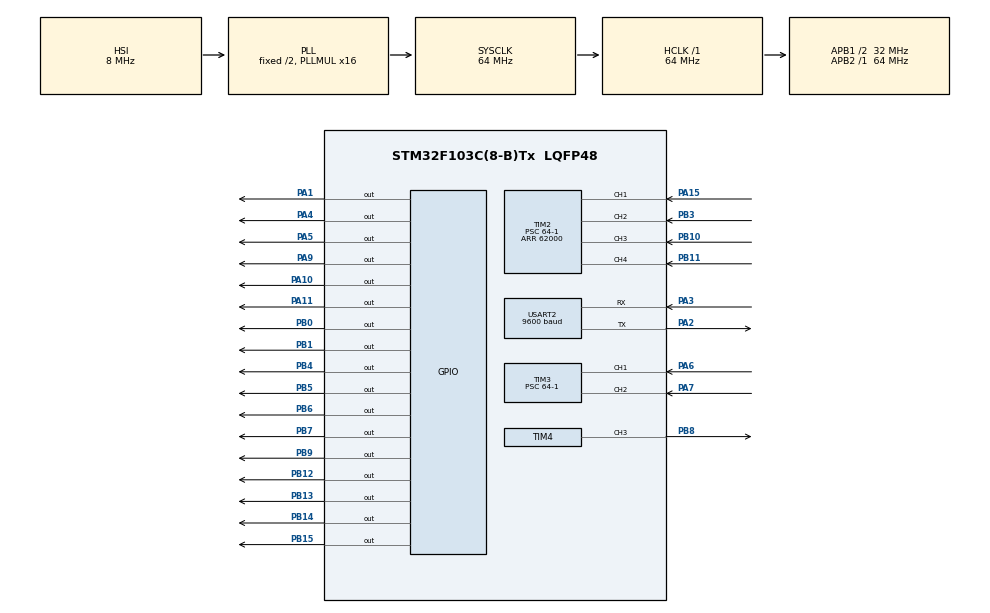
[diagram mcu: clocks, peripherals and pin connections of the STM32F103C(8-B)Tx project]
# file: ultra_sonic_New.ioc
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FREERTOS.Tasks01=Driving_Task,25,600,Start_Driving_Task_Int,Default,NULL,Dynamic,NULL,NULL;Searching_Task,25,600,Start_Searching_Task_Int,Default,NULL,Dynamic,NULL,NULL;Parking_Task,25,600,Start_Parking_Task_Int,Default,NULL,Dynamic,NULL,NULL
FREERTOS.configTOTAL_HEAP_SIZE=10000
FREERTOS.configUSE_NEWLIB_REENTRANT=1
Mcu.Family=STM32F1
Mcu.Name=STM32F103C(8-B)Tx
Mcu.Package=LQFP48
NVIC.PriorityGroup=NVIC_PRIORITYGROUP_4
NVIC.TIM1_UP_IRQn=true\:15\:0\:true\:false\:true\:true\:true\:true\:true
NVIC.TIM2_IRQn=true\:5\:0\:false\:false\:true\:true\:true\:true\:true
NVIC.TIM3_IRQn=true\:5\:0\:false\:false\:true\:true\:true\:true\:true
NVIC.USART2_IRQn=true\:5\:0\:false\:false\:true\:true\:true\:true\:true
PA1.Signal=GPIO_Output
PA10.Signal=GPIO_Output
PA11.Signal=GPIO_Output
PA13.Mode=Serial_Wire
PA13.Signal=SYS_JTMS-SWDIO
PA14.Mode=Serial_Wire
PA14.Signal=SYS_JTCK-SWCLK
PA15.Signal=S_TIM2_CH1_ETR
PA2.Mode=Asynchronous
PA2.Signal=USART2_TX
PA3.Mode=Asynchronous
PA3.Signal=USART2_RX
PA4.Signal=GPIO_Output
PA5.Signal=GPIO_Output
PA6.Signal=S_TIM3_CH1
PA7.Signal=S_TIM3_CH2
PA9.Signal=GPIO_Output
PB0.Signal=GPIO_Output
PB1.Signal=GPIO_Output
PB10.Signal=S_TIM2_CH3
PB11.Signal=S_TIM2_CH4
PB12.Signal=GPIO_Output
PB13.Signal=GPIO_Output
PB14.Signal=GPIO_Output
PB15.Signal=GPIO_Output
PB3.Signal=S_TIM2_CH2
PB4.Signal=GPIO_Output
PB5.Signal=GPIO_Output
PB6.Signal=GPIO_Output
PB7.Signal=GPIO_Output
PB8.Signal=S_TIM4_CH3
PB9.Signal=GPIO_Output
ProjectManager.HeapSize=0x200
ProjectManager.StackSize=0x400
ProjectManager.TargetToolchain=STM32CubeIDE
RCC.AHBFreq_Value=64000000
RCC.APB1CLKDivider=RCC_HCLK_DIV2
RCC.APB1Freq_Value=32000000
RCC.APB1TimFreq_Value=64000000
RCC.APB2Freq_Value=64000000
RCC.APB2TimFreq_Value=64000000
RCC.HCLKFreq_Value=64000000
RCC.PLLMUL=RCC_PLL_MUL16
RCC.SYSCLKFreq_VALUE=64000000
RCC.SYSCLKSource=RCC_SYSCLKSOURCE_PLLCLK
RCC.USBFreq_Value=64000000
SH.S_TIM2_CH1_ETR.0=TIM2_CH1,Input_Capture1_from_TI1
SH.S_TIM2_CH2.0=TIM2_CH2,Input_Capture2_from_TI2
SH.S_TIM2_CH3.0=TIM2_CH3,Input_Capture3_from_TI3
SH.S_TIM2_CH4.0=TIM2_CH4,Input_Capture4_from_TI4
SH.S_TIM3_CH1.0=TIM3_CH1,Input_Capture1_from_TI1
SH.S_TIM3_CH2.0=TIM3_CH2,Input_Capture2_from_TI2
SH.S_TIM4_CH3.0=TIM4_CH3,PWM Generation3 CH3
TIM1.Period=62000
TIM1.Prescaler=64-1
TIM2.Channel-Input_Capture1_from_TI1=TIM_CHANNEL_1
TIM2.Channel-Input_Capture2_from_TI2=TIM_CHANNEL_2
TIM2.Channel-Input_Capture3_from_TI3=TIM_CHANNEL_3
TIM2.Channel-Input_Capture4_from_TI4=TIM_CHANNEL_4
TIM2.Period=62000
TIM2.Prescaler=64-1
TIM3.Channel-Input_Capture1_from_TI1=TIM_CHANNEL_1
TIM3.Channel-Input_Capture2_from_TI2=TIM_CHANNEL_2
TIM3.Period=62000
TIM3.Prescaler=64-1
TIM4.Channel-PWM\ Generation3\ CH3=TIM_CHANNEL_3
TIM4.Period=20000-1
TIM4.Prescaler=64-1
USART2.BaudRate=9600
USART2.VirtualMode=VM_ASYNC
VP_FREERTOS_VS_CMSIS_V2.Mode=CMSIS_V2
VP_TIM1_VS_ClockSourceINT.Mode=Internal
VP_TIM2_VS_ClockSourceINT.Mode=Internal
VP_TIM3_VS_ClockSourceINT.Mode=Internal
VP_TIM4_VS_ClockSourceINT.Mode=Internal
board=custom

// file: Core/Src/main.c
/* USER CODE BEGIN Header */
/**
 ******************************************************************************
 * @file           : main.c
 * @brief          : Main program body
 ******************************************************************************
 * @attention
 *
 * Copyright (c) 2023 STMicroelectronics.
 * All rights reserved.
 *
 * This software is licensed under terms that can be found in the LICENSE file
 * in the root directory of this software component.
 * If no LICENSE file comes with this software, it is provided AS-IS.
 *
 ******************************************************************************
 */
/* USER CODE END Header */
#include "main.h"
#include "cmsis_os.h"

/* USER CODE BEGIN Includes */
#include "Ultra_Sonic.h"
#include "Uart.h"
#include "Motor.h"
#include "SharedVar.h"
#include "Driving.h"
#include "Search.h"
#include "Park.h"

/* USER CODE END Includes */

TIM_HandleTypeDef htim1;
TIM_HandleTypeDef htim2;
TIM_HandleTypeDef htim3;
TIM_HandleTypeDef htim4;

UART_HandleTypeDef huart2;

/* Definitions for Driving_Task */
osThreadId_t Driving_TaskHandle;
const osThreadAttr_t Driving_Task_attributes = {
		.name = "Driving_Task",
		.stack_size = 600 * 4,
		.priority = (osPriority_t) osPriorityNormal1,
};
/* Definitions for Searching_Task */
osThreadId_t Searching_TaskHandle;
const osThreadAttr_t Searching_Task_attributes = {
		.name = "Searching_Task",
		.stack_size = 600 * 4,
		.priority = (osPriority_t) osPriorityNormal1,
};
/* Definitions for Parking_Task */
osThreadId_t Parking_TaskHandle;
const osThreadAttr_t Parking_Task_attributes = {
		.name = "Parking_Task",
		.stack_size = 600 * 4,
		.priority = (osPriority_t) osPriorityNormal1,
};
/* USER CODE BEGIN PV */
u16 Ultra_reading[6][10];

/*****************************************************************************
 *****************************************************************************
 ** create event Group to handle and synchronize between the three tasks    **
 **task_1:Driving_Task                                                      **
 **task_2:Seaching_Task                                                     **
 **task_3:Parking_Task                                                      **
 *****************************************************************************                                                      *
 *****************************************************************************/
osEventFlagsId_t EventGroup_1;
/* USER CODE END PV */

void SystemClock_Config(void);
static void MX_GPIO_Init(void);
static void MX_TIM2_Init(void);
static void MX_TIM1_Init(void);
static void MX_TIM3_Init(void);
static void MX_TIM4_Init(void);
static void MX_USART2_UART_Init(void);
void Start_Driving_Task_Int(void *argument);
void Start_Searching_Task_Int(void *argument);
void Start_Parking_Task_Int(void *argument);

/* USER CODE BEGIN PFP */
void Bluetooth_test();
/* USER CODE END PFP */

/* USER CODE BEGIN 0 */
/* Declare a volatile variable to store a single byte of data (character)*/
volatile uint8_t ch;

/* Declare a volatile flag to indicate whether UART data has been received*/
volatile static uint8_t Uart_flag;

/* Declare a volatile variable to store received UART data*/
volatile static uint8_t rxData;

/* Declare a volatile variable to store the system mode (Assuming 'Mode_t' is a user-defined type)*/
volatile Mode_t mode;

/* USER CODE END 0 */

int main(void)
{

	/* MCU Configuration--------------------------------------------------------*/

	/* Reset of all peripherals, Initializes the Flash interface and the Systick. */
	HAL_Init();

	/* Configure the system clock */
	SystemClock_Config();

	/*******************************************************************
	 ************** Initialize all configured peripherals **************
	 *******************************************************************/
	MX_GPIO_Init();
	MX_TIM2_Init();
	MX_TIM1_Init();
	MX_TIM3_Init();
	MX_TIM4_Init();
	MX_USART2_UART_Init();
	Init_Uart((uint8_t*)&Uart_flag,(uint8_t*)&rxData);
	Driving_Init();
	SharedVar_Init();
	/* USER CODE BEGIN 2 */
	HAL_Delay(80);
	/* USER CODE END 2 */
	/* Init scheduler */
	osKernelInitialize();

	/* Create the thread(s) */
	/* creation of Driving_Task */
	Driving_TaskHandle = osThreadNew(Start_Driving_Task_Int, NULL, &Driving_Task_attributes);

	/* creation of Searching_Task */
	Searching_TaskHandle = osThreadNew(Start_Searching_Task_Int, NULL, &Searching_Task_attributes);

	/* creation of Parking_Task */
	Parking_TaskHandle = osThreadNew(Start_Parking_Task_Int, NULL, &Parking_Task_attributes);

	/* Start scheduler */
	osKernelStart();

	/* We should never get here as control is now taken by the scheduler */
	/* Infinite loop */
	while (1)
	{

	}
}

void SystemClock_Config(void)
{
	RCC_OscInitTypeDef RCC_OscInitStruct = {0};
	RCC_ClkInitTypeDef RCC_ClkInitStruct = {0};

	/** Initializes the RCC Oscillators according to the specified parameters
	 * in the RCC_OscInitTypeDef structure.
	 */
	RCC_OscInitStruct.OscillatorType = RCC_OSCILLATORTYPE_HSI;
	RCC_OscInitStruct.HSIState = RCC_HSI_ON;
	RCC_OscInitStruct.HSICalibrationValue = RCC_HSICALIBRATION_DEFAULT;
	RCC_OscInitStruct.PLL.PLLState = RCC_PLL_ON;
	RCC_OscInitStruct.PLL.PLLSource = RCC_PLLSOURCE_HSI_DIV2;
	RCC_OscInitStruct.PLL.PLLMUL = RCC_PLL_MUL16;
	if (HAL_RCC_OscConfig(&RCC_OscInitStruct) != HAL_OK)
	{
		Error_Handler();
	}

	/** Initializes the CPU, AHB and APB buses clocks
	 */
	RCC_ClkInitStruct.ClockType = RCC_CLOCKTYPE_HCLK|RCC_CLOCKTYPE_SYSCLK
			|RCC_CLOCKTYPE_PCLK1|RCC_CLOCKTYPE_PCLK2;
	RCC_ClkInitStruct.SYSCLKSource = RCC_SYSCLKSOURCE_PLLCLK;
	RCC_ClkInitStruct.AHBCLKDivider = RCC_SYSCLK_DIV1;
	RCC_ClkInitStruct.APB1CLKDivider = RCC_HCLK_DIV2;
	RCC_ClkInitStruct.APB2CLKDivider = RCC_HCLK_DIV1;

	if (HAL_RCC_ClockConfig(&RCC_ClkInitStruct, FLASH_LATENCY_2) != HAL_OK)
	{
		Error_Handler();
	}
}

static void MX_TIM1_Init(void)
{

	TIM_ClockConfigTypeDef sClockSourceConfig = {0};
	TIM_MasterConfigTypeDef sMasterConfig = {0};

	htim1.Instance = TIM1;
	htim1.Init.Prescaler = 64-1;
	htim1.Init.CounterMode = TIM_COUNTERMODE_UP;
	htim1.Init.Period = 62000;
	htim1.Init.ClockDivision = TIM_CLOCKDIVISION_DIV1;
	htim1.Init.RepetitionCounter = 0;
	htim1.Init.AutoReloadPreload = TIM_AUTORELOAD_PRELOAD_DISABLE;
	if (HAL_TIM_Base_Init(&htim1) != HAL_OK)
	{
		Error_Handler();
	}
	sClockSourceConfig.ClockSource = TIM_CLOCKSOURCE_INTERNAL;
	if (HAL_TIM_ConfigClockSource(&htim1, &sClockSourceConfig) != HAL_OK)
	{
		Error_Handler();
	}
	sMasterConfig.MasterOutputTrigger = TIM_TRGO_RESET;
	sMasterConfig.MasterSlaveMode = TIM_MASTERSLAVEMODE_DISABLE;
	if (HAL_TIMEx_MasterConfigSynchronization(&htim1, &sMasterConfig) != HAL_OK)
	{
		Error_Handler();
	}

}

static void MX_TIM2_Init(void)
{

	TIM_ClockConfigTypeDef sClockSourceConfig = {0};
	TIM_MasterConfigTypeDef sMasterConfig = {0};
	TIM_IC_InitTypeDef sConfigIC = {0};

	htim2.Instance = TIM2;
	htim2.Init.Prescaler = 64-1;
	htim2.Init.CounterMode = TIM_COUNTERMODE_UP;
	htim2.Init.Period = 62000;
	htim2.Init.ClockDivision = TIM_CLOCKDIVISION_DIV1;
	htim2.Init.AutoReloadPreload = TIM_AUTORELOAD_PRELOAD_DISABLE;
	if (HAL_TIM_Base_Init(&htim2) != HAL_OK)
	{
		Error_Handler();
	}
	sClockSourceConfig.ClockSource = TIM_CLOCKSOURCE_INTERNAL;
	if (HAL_TIM_ConfigClockSource(&htim2, &sClockSourceConfig) != HAL_OK)
	{
		Error_Handler();
	}
	if (HAL_TIM_IC_Init(&htim2) != HAL_OK)
	{
		Error_Handler();
	}
	sMasterConfig.MasterOutputTrigger = TIM_TRGO_RESET;
	sMasterConfig.MasterSlaveMode = TIM_MASTERSLAVEMODE_DISABLE;
	if (HAL_TIMEx_MasterConfigSynchronization(&htim2, &sMasterConfig) != HAL_OK)
	{
		Error_Handler();
	}
	sConfigIC.ICPolarity = TIM_INPUTCHANNELPOLARITY_RISING;
	sConfigIC.ICSelection = TIM_ICSELECTION_DIRECTTI;
	sConfigIC.ICPrescaler = TIM_ICPSC_DIV1;
	sConfigIC.ICFilter = 0;
	if (HAL_TIM_IC_ConfigChannel(&htim2, &sConfigIC, TIM_CHANNEL_1) != HAL_OK)
	{
		Error_Handler();
	}
	if (HAL_TIM_IC_ConfigChannel(&htim2, &sConfigIC, TIM_CHANNEL_2) != HAL_OK)
	{
		Error_Handler();
	}
	if (HAL_TIM_IC_ConfigChannel(&htim2, &sConfigIC, TIM_CHANNEL_3) != HAL_OK)
	{
		Error_Handler();
	}
	if (HAL_TIM_IC_ConfigChannel(&htim2, &sConfigIC, TIM_CHANNEL_4) != HAL_OK)
	{
		Error_Handler();
	}

}

static void MX_TIM3_Init(void)
{

	TIM_ClockConfigTypeDef sClockSourceConfig = {0};
	TIM_MasterConfigTypeDef sMasterConfig = {0};
	TIM_IC_InitTypeDef sConfigIC = {0};

	htim3.Instance = TIM3;
	htim3.Init.Prescaler = 64-1;
	htim3.Init.CounterMode = TIM_COUNTERMODE_UP;
	htim3.Init.Period = 62000;
	htim3.Init.ClockDivision = TIM_CLOCKDIVISION_DIV1;
	htim3.Init.AutoReloadPreload = TIM_AUTORELOAD_PRELOAD_DISABLE;
	if (HAL_TIM_Base_Init(&htim3) != HAL_OK)
	{
		Error_Handler();
	}
	sClockSourceConfig.ClockSource = TIM_CLOCKSOURCE_INTERNAL;
	if (HAL_TIM_ConfigClockSource(&htim3, &sClockSourceConfig) != HAL_OK)
	{
		Error_Handler();
	}
	if (HAL_TIM_IC_Init(&htim3) != HAL_OK)
	{
		Error_Handler();
	}
	sMasterConfig.MasterOutputTrigger = TIM_TRGO_RESET;
	sMasterConfig.MasterSlaveMode = TIM_MASTERSLAVEMODE_DISABLE;
	if (HAL_TIMEx_MasterConfigSynchronization(&htim3, &sMasterConfig) != HAL_OK)
	{
		Error_Handler();
	}
	sConfigIC.ICPolarity = TIM_INPUTCHANNELPOLARITY_RISING;
	sConfigIC.ICSelection = TIM_ICSELECTION_DIRECTTI;
	sConfigIC.ICPrescaler = TIM_ICPSC_DIV1;
	sConfigIC.ICFilter = 0;
	if (HAL_TIM_IC_ConfigChannel(&htim3, &sConfigIC, TIM_CHANNEL_1) != HAL_OK)
	{
		Error_Handler();
	}
	if (HAL_TIM_IC_ConfigChannel(&htim3, &sConfigIC, TIM_CHANNEL_2) != HAL_OK)
	{
		Error_Handler();
	}

}

static void MX_TIM4_Init(void)
{

	TIM_ClockConfigTypeDef sClockSourceConfig = {0};
	TIM_MasterConfigTypeDef sMasterConfig = {0};
	TIM_OC_InitTypeDef sConfigOC = {0};

	htim4.Instance = TIM4;
	htim4.Init.Prescaler = 64-1;
	htim4.Init.CounterMode = TIM_COUNTERMODE_UP;
	htim4.Init.Period = 20000-1;
	htim4.Init.ClockDivision = TIM_CLOCKDIVISION_DIV1;
	htim4.Init.AutoReloadPreload = TIM_AUTORELOAD_PRELOAD_DISABLE;
	if (HAL_TIM_Base_Init(&htim4) != HAL_OK)
	{
		Error_Handler();
	}
	sClockSourceConfig.ClockSource = TIM_CLOCKSOURCE_INTERNAL;
	if (HAL_TIM_ConfigClockSource(&htim4, &sClockSourceConfig) != HAL_OK)
	{
		Error_Handler();
	}
	if (HAL_TIM_PWM_Init(&htim4) != HAL_OK)
	{
		Error_Handler();
	}
	sMasterConfig.MasterOutputTrigger = TIM_TRGO_RESET;
	sMasterConfig.MasterSlaveMode = TIM_MASTERSLAVEMODE_DISABLE;
	if (HAL_TIMEx_MasterConfigSynchronization(&htim4, &sMasterConfig) != HAL_OK)
	{
		Error_Handler();
	}
	sConfigOC.OCMode = TIM_OCMODE_PWM1;
	sConfigOC.Pulse = 0;
	sConfigOC.OCPolarity = TIM_OCPOLARITY_HIGH;
	sConfigOC.OCFastMode = TIM_OCFAST_DISABLE;
	if (HAL_TIM_PWM_ConfigChannel(&htim4, &sConfigOC, TIM_CHANNEL_3) != HAL_OK)
	{
		Error_Handler();
	}
	HAL_TIM_MspPostInit(&htim4);

}

static void MX_USART2_UART_Init(void)
{

	huart2.Instance = USART2;
	huart2.Init.BaudRate = 9600;
	huart2.Init.WordLength = UART_WORDLENGTH_8B;
	huart2.Init.StopBits = UART_STOPBITS_1;
	huart2.Init.Parity = UART_PARITY_NONE;
	huart2.Init.Mode = UART_MODE_TX_RX;
	huart2.Init.HwFlowCtl = UART_HWCONTROL_NONE;
	huart2.Init.OverSampling = UART_OVERSAMPLING_16;
	if (HAL_UART_Init(&huart2) != HAL_OK)
	{
		Error_Handler();
	}

}

static void MX_GPIO_Init(void)
{
	GPIO_InitTypeDef GPIO_InitStruct = {0};

	/* GPIO Ports Clock Enable */
	__HAL_RCC_GPIOA_CLK_ENABLE();
	__HAL_RCC_GPIOB_CLK_ENABLE();

	/*Configure GPIO pin Output Level */
	HAL_GPIO_WritePin(GPIOA, GPIO_PIN_1|GPIO_PIN_4|GPIO_PIN_5|GPIO_PIN_9
			|GPIO_PIN_10|GPIO_PIN_11, GPIO_PIN_RESET);

	/*Configure GPIO pin Output Level */
	HAL_GPIO_WritePin(GPIOB, GPIO_PIN_0|GPIO_PIN_1|GPIO_PIN_12|GPIO_PIN_13
			|GPIO_PIN_14|GPIO_PIN_15|GPIO_PIN_4|GPIO_PIN_5
			|GPIO_PIN_6|GPIO_PIN_7|GPIO_PIN_9, GPIO_PIN_RESET);

	/*Configure GPIO pins : PA1 PA4 PA5 PA9
                           PA10 PA11 */
	GPIO_InitStruct.Pin = GPIO_PIN_1|GPIO_PIN_4|GPIO_PIN_5|GPIO_PIN_9
			|GPIO_PIN_10|GPIO_PIN_11;
	GPIO_InitStruct.Mode = GPIO_MODE_OUTPUT_PP;
	GPIO_InitStruct.Pull = GPIO_NOPULL;
	GPIO_InitStruct.Speed = GPIO_SPEED_FREQ_LOW;
	HAL_GPIO_Init(GPIOA, &GPIO_InitStruct);

	/*Configure GPIO pins : PB0 PB1 PB12 PB13
                           PB14 PB15 PB4 PB5
                           PB6 PB7 PB9 */
	GPIO_InitStruct.Pin = GPIO_PIN_0|GPIO_PIN_1|GPIO_PIN_12|GPIO_PIN_13
			|GPIO_PIN_14|GPIO_PIN_15|GPIO_PIN_4|GPIO_PIN_5
			|GPIO_PIN_6|GPIO_PIN_7|GPIO_PIN_9;
	GPIO_InitStruct.Mode = GPIO_MODE_OUTPUT_PP;
	GPIO_InitStruct.Pull = GPIO_NOPULL;
	GPIO_InitStruct.Speed = GPIO_SPEED_FREQ_LOW;
	HAL_GPIO_Init(GPIOB, &GPIO_InitStruct);

}

/* USER CODE BEGIN 4 */

/*******************************************************************************************
 *******************************************************************************************
 ** Function Of_HAL_UART_RxCpltCallback:                                                  **
 ** the HAL_UART_RxCpltCallback function is called in each time the UART ISR is fired.    **
 ** the UART ISR is fired in each time it receives a character from the bluetooth.        **
 ** Based on the received character  the corresponding event is set                       **
 ** for synchronization between tasks.                                                    **
 ** ****************************************************************************************                                                     *
 ******************************************************************************************/
void HAL_UART_RxCpltCallback(UART_HandleTypeDef *huart)
{
	/* Check if the interrupt is from USART2*/
	if(huart->Instance==USART2)
	{
		/* Set the UART flag to indicate that data has been received*/
		Uart_flag = 1;

		/*receive the Data (character) from bluetooth by using USART2*/
		ch = Get_Bluetooth_Command();

		/*when character "W" is received the  SEARCH_RIGHT mode is activated*/
		if((ch=='W'))
		{
			/* Set the mode to SEARCH_RIGHT*/
			mode_Setter(SEARCH_RIGHT);

			/* Set an event flag to notify the main program about the action */
			osEventFlagsSet(EventGroup_1, 2);
		}

		/*when character "U" is received the  SEARCH_LEFT mode is activated*/
		else if((ch=='U'))
		{
			/*Set the mode to SEARCH_LEFT*/
			mode_Setter(SEARCH_LEFT);

			/* Set an event flag to notify the main program about the action*/
			osEventFlagsSet(EventGroup_1,2);
		}

		/*when  received  any character other than (W,U,S,D) the IDLE mode is activated*/
		else if(ch!='S'&&ch!='N')
		{
			/*Set the mode to IDLE for other Bluetooth commands*/
			mode_Setter(IDLE);

			/*Set an event flag to notify the main program about the action*/
			osEventFlagsSet(EventGroup_1,4);

		}
		/* Enabling interrupt to be able to receive again*/
		HAL_UART_Receive_IT(&huart2,(uint8_t*)&rxData,1);
	}
}
/* USER CODE END 4 */

void Start_Driving_Task_Int(void *argument)
{
	/* USER CODE BEGIN 5 */
	/* Infinite loop */
	for(;;)
	{
		/* Wait for the event flag with bit 4 set, indicating a driving task is requested*/
		osEventFlagsWait(EventGroup_1, 4, osFlagsWaitAll, osWaitForever);

		/* Continue executing the following code while the system is in IDLE mode*/
		while (mode_Getter() == IDLE)
		{
			/* Execute the Driving_Runnable function with the current Bluetooth command 'ch'*/
			Driving_Runnable(ch);

			/* Perform obstacle avoidance logic*/
			Obstacle_Avoidance();

			/* Clear the event flag bit 4, indicating that the driving task is completed*/
			osEventFlagsClear(EventGroup_1, 4);
		}
		/* USER CODE END 5 */
	}
}
void Start_Searching_Task_Int(void *argument)
{
	/* USER CODE BEGIN Start_Searching_Task_Int */
	/* Infinite loop */
	for(;;)
	{
		/* Wait for the event flag with bit 2 set, indicating a searching task is requested */
		osEventFlagsWait(EventGroup_1, 2, osFlagsWaitAll, osWaitForever);

		//osEventFlagsClear(EventGroup_1, 4); (test)

		/* Get the current mode */
		mode = mode_Getter();

		/* Check if the system is in SEARCH_RIGHT or SEARCH_LEFT mode */
		if(mode == SEARCH_RIGHT || mode == SEARCH_LEFT)
		{
			/* Execute the Search_Runnable function for searching actions */
			Search_Runnable();

			/* Clear the event flag bit 2, indicating that the searching task is completed */
			osEventFlagsClear(EventGroup_1, 2);
		}
		/* Check if the system is in PARK_RIGHT or PARK_LEFT mode */
		else if(mode == PARK_RIGHT || mode == PARK_LEFT)
		{
			/* Set an event flag bit 3, indicating a parking task should be performed */
			osEventFlagsSet(EventGroup_1, 3);
		}
	}
	/* USER CODE END Start_Searching_Task_Int */
}

void Start_Parking_Task_Int(void *argument)
{
	/* USER CODE BEGIN Start_Parking_Task_Int */
	/* Infinite loop */
	for(;;)
	{
		/* Wait for the event flag with bit 3 set, indicating a parking task is requested */
		osEventFlagsWait(EventGroup_1, 3, osFlagsWaitAll, osWaitForever);

		/* Continue executing the following code while the system is in PARK_RIGHT or SEARCH_LEFT mode */
		while (mode_Getter() == PARK_RIGHT || mode_Getter() == SEARCH_LEFT)
		{
			/* Execute the Park_Runnable function for parking actions */
			Park_Runnable();

			/* Clear event flag bit 3, indicating that the parking task is completed */
			osEventFlagsClear(EventGroup_1, 3);

			/* Clear event flag bit 2 (SEARCHING task), indicating that searching is completed (if set) */
			osEventFlagsClear(EventGroup_1, 2);
		}
	}
	/* USER CODE END Start_Parking_Task_Int */
}

void Error_Handler(void)
{
	__disable_irq();
	while (1)
	{
	}
}
